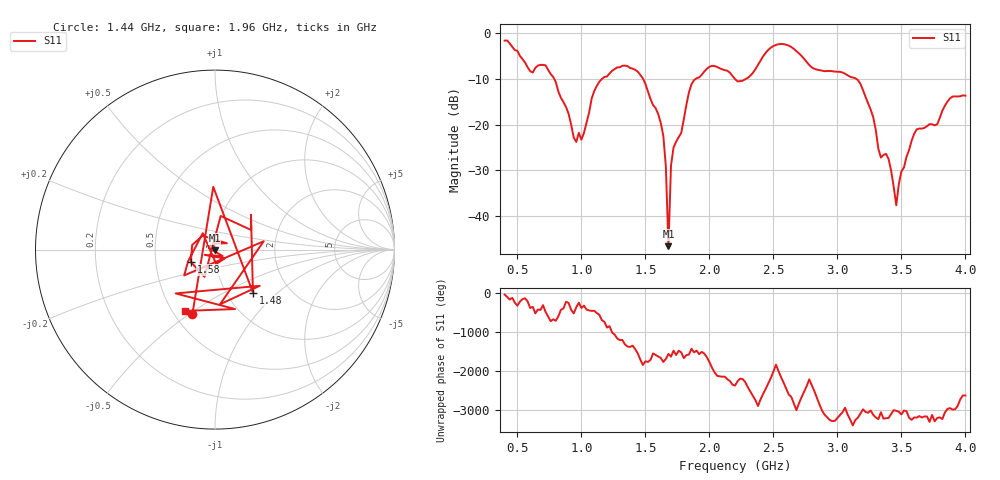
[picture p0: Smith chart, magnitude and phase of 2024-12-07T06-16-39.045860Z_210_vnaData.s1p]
!Created with skrf (http://scikit-rf.org).
# Hz S RI R 50.0
!freq ReS11 ImS11
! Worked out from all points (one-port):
!   181 points, 400 MHz to 4 GHz, reference 50 ohm
!   lowest |S11| = -46.6 dB at 1.68 GHz (marker M1), VSWR 1.01, Z = 49.7 - j0.38 ohm
!   |S11| at or under -10 dB: 787.1 MHz to 1.162 GHz (375.1 MHz wide, 38.5 % of centre); 1.482 GHz to 1.894 GHz (412.5 MHz wide, 24.4 % of centre); 3.146 GHz to end of sweep (the widest 3 of 4)
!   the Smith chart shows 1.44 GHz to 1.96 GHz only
!   S11 on the Smith chart (normalised r, x): 1.44 GHz: 0.61, -0.51; 1.48 GHz: 1.32, -0.71; 1.58 GHz: 0.76, -0.11; 1.96 GHz: 0.58, -0.46
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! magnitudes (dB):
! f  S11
! 400 MHz  -1.6
! 600 MHz  -8.3
! 720 MHz  -7.0
! 860 MHz  -15.1
! 940 MHz  -22.8
! 1 GHz  -23.3
! 1.12 GHz  -11.6
! 1.3 GHz  -7.5
! 1.44 GHz  -8.4
! 1.48 GHz  -9.9
! 1.58 GHz  -16.4
! 1.64 GHz  -22.5
! 1.66 GHz  -29.3
! 1.68 GHz  -46.6
! 1.7 GHz  -29.0
! 1.76 GHz  -22.8
! 1.86 GHz  -11.2
! 1.96 GHz  -8.4
! 2.2 GHz  -10.0
! 2.5 GHz  -2.8
! 2.66 GHz  -3.5
! 3.1 GHz  -9.5
! 3.26 GHz  -16.7
! 3.34 GHz  -27.2
! 3.4 GHz  -27.6
! 3.46 GHz  -37.7
! 3.56 GHz  -25.6
! 4 GHz  -13.7
